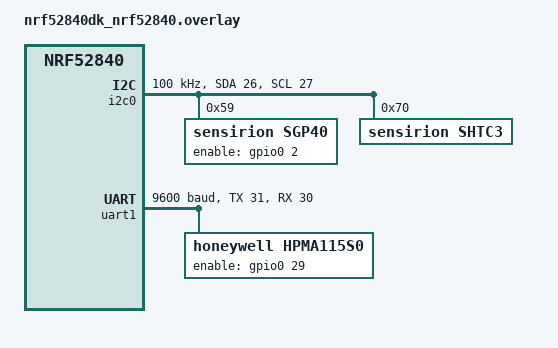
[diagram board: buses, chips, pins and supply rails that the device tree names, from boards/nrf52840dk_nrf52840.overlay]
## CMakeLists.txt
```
#
# Copyright (c) 2021 Circuit Dojo LLC
#

cmake_minimum_required(VERSION 3.13.4)

# Determine the build type
if (NOT BUILD_TYPE)
  set(BUILD_TYPE debug)
endif()

# Print out build type
message(STATUS "Build type: ${BUILD_TYPE} 🚀")

# Set environment variables
set(ZEPHYR_TOOLCHAIN_VARIANT gnuarmemb)
# set(GNUARMEMB_TOOLCHAIN_PATH "C:\\Program Files (x86)\\GNU Tools Arm Embedded\\9 2019-q4-major")
set(GNUARMEMB_TOOLCHAIN_PATH /Users/jaredwolff/gcc-arm-none-eabi-9-2019-q4-major)

find_package(Zephyr REQUIRED HINTS $ENV{ZEPHYR_BASE})

project(air-quality-wing-demo)

target_sources(app PRIVATE src/main.c)
```

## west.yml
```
manifest:
  remotes:
    - name: nrfconnect
      url-base: https://github.com/nrfconnect
  projects:
    - name: nrf
      repo-path: sdk-nrf
      remote: nrfconnect
      revision: v1.7.0
      import: true
    # Drivers repository
    - name: air-quality-wing-drivers
      path: aqw
      revision: main
      url: https://github.com/circuitdojo/air-quality-wing-zephyr-drivers.git
      import: true
    # Golioth repository.
    - name: golioth
      path: modules/lib/golioth
      revision: main
      url: https://github.com/golioth/golioth-zephyr-sdk
      import: west-external.yml
  self:
    # This repository should be cloned to 
    path: demo
```

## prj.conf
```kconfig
# Heap and stacks
CONFIG_INIT_STACKS=y
CONFIG_MAIN_STACK_SIZE=2048

# GPIO
CONFIG_GPIO=y

# Logging
CONFIG_LOG=y
CONFIG_LOG_MODE_IMMEDIATE=y
CONFIG_SERIAL=y
CONFIG_CONSOLE=y
CONFIG_UART_CONSOLE=y
CONFIG_LOG_BACKEND_UART=y

# Sensors
CONFIG_I2C=y
CONFIG_SENSOR=y
CONFIG_SHTC3=y
CONFIG_SGP40=y

# AWQ Library
CONFIG_AQW=y

# Enable MCUboot bootloader
CONFIG_BOOTLOADER_MCUBOOT=y

# Newlibc
CONFIG_NEWLIB_LIBC=y 

CONFIG_SENSOR_LOG_LEVEL_DBG=y
# CONFIG_AQW_LOG_LEVEL_DBG=y
```

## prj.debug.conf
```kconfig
CONFIG_SENSOR_LOG_LEVEL_DBG=y
# CONFIG_CONFIG_AQW_LOG_LEVEL_DBG=y
```

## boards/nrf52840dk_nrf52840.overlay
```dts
/*
 * Copyright (c) 2021 Circuit Dojo LLC
 */

&i2c0 {
    compatible = "nordic,nrf-twim";
    status = "okay";
    sda-pin = < 26 >;
    scl-pin = < 27 >;
    clock-frequency = <I2C_BITRATE_STANDARD>;

    sgp40@59 {
        compatible = "sensirion,sgp40";
        reg = <0x59>;
        label = "SGP40";
        enable-gpios = <&gpio0 2 GPIO_ACTIVE_HIGH>;
    };

	shtc3@70 {
		compatible = "sensirion,shtc3";
		reg = <0x70>;
		label = "SHTC3";
    };
};

&uart1 {
    compatible = "nordic,nrf-uarte";
    current-speed = <9600>;
	rx-pin = <30>;
	tx-pin = <31>;

    hpma115s0 {
        compatible = "honeywell,hpma115s0";
        label = "HPMA115S0";
        enable-gpios = <&gpio0 29 GPIO_ACTIVE_HIGH>;
    };
};
```

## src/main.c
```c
#include <zephyr.h>
#include <device.h>
#include <drivers/sensor.h>
#include <devicetree.h>
#include <aqw.h>

#include <logging/log.h>
LOG_MODULE_REGISTER(demo);

/* Device name defintions*/
#define SHTC3 DT_INST(0, sensirion_shtc3)
#define CONFIG_SHTC3_DEV_NAME DT_LABEL(SHTC3)

#define SGP40 DT_INST(0, sensirion_sgp40)
#define CONFIG_SGP40_DEV_NAME DT_LABEL(SGP40)

#define HPMA115S0 DT_INST(0, honeywell_hpma115s0)
#define CONFIG_HPMA115S0_DEV_NAME DT_LABEL(HPMA115S0)

/* Inverval in seconds */
#define STANDARD_SENSOR_INTERVAL 60

static struct aqw_sensor temperature_sensor =
    {
        .type = AQW_TEMPERATURE_SENSOR,
        .chan = SENSOR_CHAN_AMBIENT_TEMP,
        .dev_name = CONFIG_SHTC3_DEV_NAME,
        .interval = STANDARD_SENSOR_INTERVAL,
};

static struct aqw_sensor humidity_sensor =
    {
        .type = AQW_HUMIDITY_SENSOR,
        .chan = SENSOR_CHAN_HUMIDITY,
        .dev_name = CONFIG_SHTC3_DEV_NAME,
        .interval = STANDARD_SENSOR_INTERVAL,
};

static struct aqw_sensor voc_sensor =
    {
        .type = AQW_VOC_SENSOR,
        .chan = SENSOR_CHAN_VOC,
        .dev_name = CONFIG_SGP40_DEV_NAME,
        .interval = STANDARD_SENSOR_INTERVAL,
};

static struct aqw_sensor hpma_sensor =
    {
        .type = AQW_PM25_SENSOR,
        .chan = SENSOR_CHAN_PM_2_5,
        .dev_name = CONFIG_HPMA115S0_DEV_NAME,
        .interval = STANDARD_SENSOR_INTERVAL,
};

static struct aqw_sensor *sensors[] = {
    &temperature_sensor,
    &humidity_sensor,
    &voc_sensor,
    &hpma_sensor,
};

void sensor_cb(struct aqw_sensor_data *data, size_t len)
{
    for (int i = 0; i < len; i++)
    {

        /* Skip if not valid */
        if (data[i].type == AQW_INVALID_SENSOR)
            continue;

        LOG_INF("%s: %i.%i%s", aqw_sensor_type_to_string(data[i].type), data[i].val.val1, data[i].val.val2, aqw_sensor_unit_to_string(data[i].type));
    }
}

void main(void)
{
    int err = 0;

    LOG_INF("Air Quality Wing Demo");

    /* Init Air Quality Wing */
    err = aqw_init(sensors, ARRAY_SIZE(sensors), sensor_cb);
    if (err)
        __ASSERT_MSG_INFO("Unable to init Air Quality Wing library. Err: %i", err);

    err = aqw_sensor_start_fetch();
    if (err)
        __ASSERT_MSG_INFO("Unable to start fetch. Err: %i", err);
}
```
